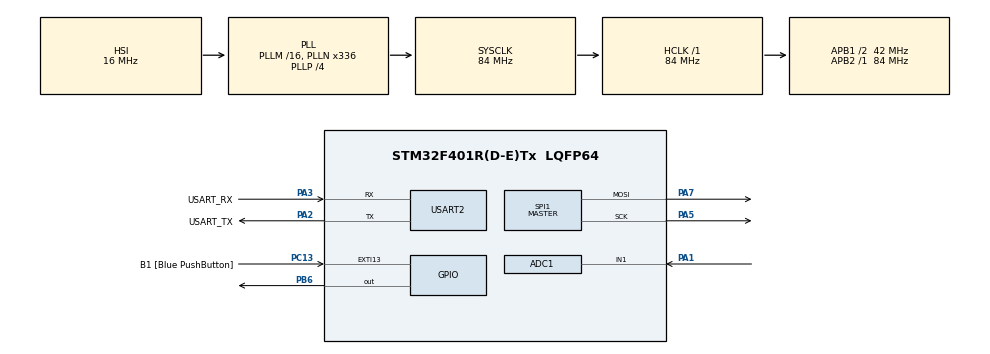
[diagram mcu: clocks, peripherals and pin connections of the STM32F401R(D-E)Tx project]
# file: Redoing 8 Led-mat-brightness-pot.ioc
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ADC1.Channel-0\#ChannelRegularConversion=ADC_CHANNEL_1
ADC1.ExternalTrigConv=ADC_EXTERNALTRIGCONV_T3_TRGO
ADC1.InjNumberOfConversion=0
ADC1.NbrOfConversionFlag=1
ADC1.Rank-0\#ChannelRegularConversion=1
ADC1.SamplingTime-0\#ChannelRegularConversion=ADC_SAMPLETIME_480CYCLES
ADC1.master=1
Dma.Request0=SPI1_TX
Dma.SPI1_TX.0.Direction=DMA_MEMORY_TO_PERIPH
Dma.SPI1_TX.0.FIFOMode=DMA_FIFOMODE_DISABLE
Dma.SPI1_TX.0.Instance=DMA2_Stream3
Dma.SPI1_TX.0.MemDataAlignment=DMA_MDATAALIGN_BYTE
Dma.SPI1_TX.0.MemInc=DMA_MINC_ENABLE
Dma.SPI1_TX.0.Mode=DMA_NORMAL
Dma.SPI1_TX.0.PeriphDataAlignment=DMA_PDATAALIGN_BYTE
Dma.SPI1_TX.0.PeriphInc=DMA_PINC_DISABLE
Dma.SPI1_TX.0.Priority=DMA_PRIORITY_LOW
Mcu.Family=STM32F4
Mcu.Name=STM32F401R(D-E)Tx
Mcu.Package=LQFP64
NVIC.ADC_IRQn=true\:0\:0\:false\:false\:true\:true\:true\:true
NVIC.DMA2_Stream3_IRQn=true\:0\:0\:false\:false\:true\:false\:true\:true
NVIC.PriorityGroup=NVIC_PRIORITYGROUP_0
NVIC.SPI1_IRQn=true\:0\:0\:false\:false\:true\:true\:true\:true
NVIC.TIM2_IRQn=true\:0\:0\:false\:false\:true\:true\:true\:true
NVIC.TIM3_IRQn=true\:0\:0\:false\:false\:true\:true\:true\:true
PA1.Signal=ADCx_IN1
PA13.GPIO_Label=TMS
PA13.Mode=Serial_Wire
PA13.Signal=SYS_JTMS-SWDIO
PA14.GPIO_Label=TCK
PA14.Mode=Serial_Wire
PA14.Signal=SYS_JTCK-SWCLK
PA2.GPIO_Label=USART_TX
PA2.GPIO_Mode=GPIO_MODE_AF_PP
PA2.GPIO_PuPd=GPIO_NOPULL
PA2.GPIO_Speed=GPIO_SPEED_FREQ_LOW
PA2.Mode=Asynchronous
PA2.Signal=USART2_TX
PA3.GPIO_Label=USART_RX
PA3.GPIO_Mode=GPIO_MODE_AF_PP
PA3.GPIO_PuPd=GPIO_NOPULL
PA3.GPIO_Speed=GPIO_SPEED_FREQ_LOW
PA3.Mode=Asynchronous
PA3.Signal=USART2_RX
PA4.Signal=SPI1_NSS
PA5.Mode=TX_Only_Simplex_Unidirect_Master
PA5.Signal=SPI1_SCK
PA6.Signal=SPI1_MISO
PA7.Mode=TX_Only_Simplex_Unidirect_Master
PA7.Signal=SPI1_MOSI
PB3.GPIO_Label=SWO
PB3.Signal=SYS_JTDO-SWO
PB6.Signal=GPIO_Output
PC13-ANTI_TAMP.GPIO_Label=B1 [Blue PushButton]
PC13-ANTI_TAMP.GPIO_ModeDefaultEXTI=GPIO_MODE_IT_FALLING
PC13-ANTI_TAMP.GPIO_PuPd=GPIO_NOPULL
PC13-ANTI_TAMP.Signal=GPXTI13
PC14-OSC32_IN.Mode=LSE-External-Oscillator
PC14-OSC32_IN.Signal=RCC_OSC32_IN
PC15-OSC32_OUT.Mode=LSE-External-Oscillator
PC15-OSC32_OUT.Signal=RCC_OSC32_OUT
PH0\ -\ OSC_IN.Mode=HSE-External-Clock-Source
PH0\ -\ OSC_IN.Signal=RCC_OSC_IN
PH1\ -\ OSC_OUT.Mode=HSE-External-Clock-Source
PH1\ -\ OSC_OUT.Signal=RCC_OSC_OUT
ProjectManager.HeapSize=0x200
ProjectManager.StackSize=0x400
ProjectManager.TargetToolchain=STM32CubeIDE
RCC.48MHZClocksFreq_Value=48000000
RCC.AHBFreq_Value=84000000
RCC.APB1CLKDivider=RCC_HCLK_DIV2
RCC.APB1Freq_Value=42000000
RCC.APB1TimFreq_Value=84000000
RCC.APB2Freq_Value=84000000
RCC.APB2TimFreq_Value=84000000
RCC.CortexFreq_Value=84000000
RCC.HCLKFreq_Value=84000000
RCC.HSE_VALUE=8000000
RCC.HSI_VALUE=16000000
RCC.PLLN=336
RCC.PLLP=RCC_PLLP_DIV4
RCC.PLLQ=7
RCC.SYSCLKFreq_VALUE=84000000
RCC.SYSCLKSource=RCC_SYSCLKSOURCE_PLLCLK
RCC.VCOOutputFreq_Value=336000000
SH.ADCx_IN1.0=ADC1_IN1,IN1
SPI1.BaudRatePrescaler=SPI_BAUDRATEPRESCALER_4
SPI1.Direction=SPI_DIRECTION_2LINES
SPI1.Mode=SPI_MODE_MASTER
SPI1.VirtualType=VM_MASTER
TIM2.Period=1
TIM2.Prescaler=840
TIM3.Period=10000
TIM3.Prescaler=8400
TIM3.TIM_MasterOutputTrigger=TIM_TRGO_UPDATE
USART2.VirtualMode=VM_ASYNC
VP_TIM2_VS_ClockSourceINT.Mode=Internal
VP_TIM3_VS_ClockSourceINT.Mode=Internal
board=NUCLEO-F401RE

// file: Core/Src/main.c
/* USER CODE BEGIN Header */
/**
 ******************************************************************************
 * @file           : main.c
 * @brief          : Main program body
 ******************************************************************************
 * @attention
 *
 * Copyright (c) 2023 STMicroelectronics.
 * All rights reserved.
 *
 * This software is licensed under terms that can be found in the LICENSE file
 * in the root directory of this software component.
 * If no LICENSE file comes with this software, it is provided AS-IS.
 *
 ******************************************************************************
 */
/* USER CODE END Header */
#include "main.h"

ADC_HandleTypeDef hadc1;

SPI_HandleTypeDef hspi1;
DMA_HandleTypeDef hdma_spi1_tx;

TIM_HandleTypeDef htim2;
TIM_HandleTypeDef htim3;

UART_HandleTypeDef huart2;

void SystemClock_Config(void);
static void MX_GPIO_Init(void);
static void MX_DMA_Init(void);
static void MX_USART2_UART_Init(void);
static void MX_SPI1_Init(void);
static void MX_TIM2_Init(void);
static void MX_TIM3_Init(void);
static void MX_ADC1_Init(void);

/* USER CODE BEGIN 0 */
int pot_val = 0;
void HAL_TIM_PeriodElapsedCallback(TIM_HandleTypeDef *htim) {
#define N_CHARS 3
	static uint8_t empty[2] = {0, 0};
	static uint8_t full[2] = {0b11111111,0b11111111};

	if (htim == &htim2) {
		static int idx = 0;
		if(idx == 0 && pot_val != 0){
			HAL_SPI_Transmit_DMA(&hspi1, full, 2);
		}else if(idx == pot_val && pot_val != 100){
			HAL_SPI_Transmit_DMA(&hspi1, empty, 2);
		}
		idx = (idx + 1) % 100;
	}
}

void HAL_SPI_TxCpltCallback (SPI_HandleTypeDef * hspi){
	HAL_GPIO_TogglePin(GPIOB, GPIO_PIN_6);
	HAL_GPIO_TogglePin(GPIOB, GPIO_PIN_6);
}

void HAL_ADC_ConvCpltCallback(ADC_HandleTypeDef *hadc){
	if(hadc == &hadc1){
		pot_val = (float)HAL_ADC_GetValue(&hadc1)/40.92;
	}

}
/* USER CODE END 0 */

int main(void)
{

  /* MCU Configuration--------------------------------------------------------*/

  /* Reset of all peripherals, Initializes the Flash interface and the Systick. */
  HAL_Init();

  /* Configure the system clock */
  SystemClock_Config();

  /* Initialize all configured peripherals */
  MX_GPIO_Init();
  MX_DMA_Init();
  MX_USART2_UART_Init();
  MX_SPI1_Init();
  MX_TIM2_Init();
  MX_TIM3_Init();
  MX_ADC1_Init();
  /* USER CODE BEGIN 2 */
	HAL_TIM_Base_Start_IT(&htim2);
	HAL_TIM_Base_Start_IT(&htim3);
	if(HAL_ADC_Start_IT(&hadc1) != HAL_OK)
		Error_Handler();
  /* USER CODE END 2 */

  /* Infinite loop */
	while (1) {

	}
}

void SystemClock_Config(void)
{
  RCC_OscInitTypeDef RCC_OscInitStruct = {0};
  RCC_ClkInitTypeDef RCC_ClkInitStruct = {0};

  /** Configure the main internal regulator output voltage
  */
  __HAL_RCC_PWR_CLK_ENABLE();
  __HAL_PWR_VOLTAGESCALING_CONFIG(PWR_REGULATOR_VOLTAGE_SCALE2);

  /** Initializes the RCC Oscillators according to the specified parameters
  * in the RCC_OscInitTypeDef structure.
  */
  RCC_OscInitStruct.OscillatorType = RCC_OSCILLATORTYPE_HSI;
  RCC_OscInitStruct.HSIState = RCC_HSI_ON;
  RCC_OscInitStruct.HSICalibrationValue = RCC_HSICALIBRATION_DEFAULT;
  RCC_OscInitStruct.PLL.PLLState = RCC_PLL_ON;
  RCC_OscInitStruct.PLL.PLLSource = RCC_PLLSOURCE_HSI;
  RCC_OscInitStruct.PLL.PLLM = 16;
  RCC_OscInitStruct.PLL.PLLN = 336;
  RCC_OscInitStruct.PLL.PLLP = RCC_PLLP_DIV4;
  RCC_OscInitStruct.PLL.PLLQ = 7;
  if (HAL_RCC_OscConfig(&RCC_OscInitStruct) != HAL_OK)
  {
    Error_Handler();
  }

  /** Initializes the CPU, AHB and APB buses clocks
  */
  RCC_ClkInitStruct.ClockType = RCC_CLOCKTYPE_HCLK|RCC_CLOCKTYPE_SYSCLK
                              |RCC_CLOCKTYPE_PCLK1|RCC_CLOCKTYPE_PCLK2;
  RCC_ClkInitStruct.SYSCLKSource = RCC_SYSCLKSOURCE_PLLCLK;
  RCC_ClkInitStruct.AHBCLKDivider = RCC_SYSCLK_DIV1;
  RCC_ClkInitStruct.APB1CLKDivider = RCC_HCLK_DIV2;
  RCC_ClkInitStruct.APB2CLKDivider = RCC_HCLK_DIV1;

  if (HAL_RCC_ClockConfig(&RCC_ClkInitStruct, FLASH_LATENCY_2) != HAL_OK)
  {
    Error_Handler();
  }
}

static void MX_ADC1_Init(void)
{

  ADC_ChannelConfTypeDef sConfig = {0};

  /** Configure the global features of the ADC (Clock, Resolution, Data Alignment and number of conversion)
  */
  hadc1.Instance = ADC1;
  hadc1.Init.ClockPrescaler = ADC_CLOCK_SYNC_PCLK_DIV4;
  hadc1.Init.Resolution = ADC_RESOLUTION_12B;
  hadc1.Init.ScanConvMode = DISABLE;
  hadc1.Init.ContinuousConvMode = DISABLE;
  hadc1.Init.DiscontinuousConvMode = DISABLE;
  hadc1.Init.ExternalTrigConvEdge = ADC_EXTERNALTRIGCONVEDGE_RISING;
  hadc1.Init.ExternalTrigConv = ADC_EXTERNALTRIGCONV_T3_TRGO;
  hadc1.Init.DataAlign = ADC_DATAALIGN_RIGHT;
  hadc1.Init.NbrOfConversion = 1;
  hadc1.Init.DMAContinuousRequests = DISABLE;
  hadc1.Init.EOCSelection = ADC_EOC_SINGLE_CONV;
  if (HAL_ADC_Init(&hadc1) != HAL_OK)
  {
    Error_Handler();
  }

  /** Configure for the selected ADC regular channel its corresponding rank in the sequencer and its sample time.
  */
  sConfig.Channel = ADC_CHANNEL_1;
  sConfig.Rank = 1;
  sConfig.SamplingTime = ADC_SAMPLETIME_480CYCLES;
  if (HAL_ADC_ConfigChannel(&hadc1, &sConfig) != HAL_OK)
  {
    Error_Handler();
  }

}

static void MX_SPI1_Init(void)
{

  /* SPI1 parameter configuration*/
  hspi1.Instance = SPI1;
  hspi1.Init.Mode = SPI_MODE_MASTER;
  hspi1.Init.Direction = SPI_DIRECTION_2LINES;
  hspi1.Init.DataSize = SPI_DATASIZE_8BIT;
  hspi1.Init.CLKPolarity = SPI_POLARITY_LOW;
  hspi1.Init.CLKPhase = SPI_PHASE_1EDGE;
  hspi1.Init.NSS = SPI_NSS_SOFT;
  hspi1.Init.BaudRatePrescaler = SPI_BAUDRATEPRESCALER_4;
  hspi1.Init.FirstBit = SPI_FIRSTBIT_MSB;
  hspi1.Init.TIMode = SPI_TIMODE_DISABLE;
  hspi1.Init.CRCCalculation = SPI_CRCCALCULATION_DISABLE;
  hspi1.Init.CRCPolynomial = 10;
  if (HAL_SPI_Init(&hspi1) != HAL_OK)
  {
    Error_Handler();
  }

}

static void MX_TIM2_Init(void)
{

  TIM_ClockConfigTypeDef sClockSourceConfig = {0};
  TIM_MasterConfigTypeDef sMasterConfig = {0};

  htim2.Instance = TIM2;
  htim2.Init.Prescaler = 840;
  htim2.Init.CounterMode = TIM_COUNTERMODE_UP;
  htim2.Init.Period = 1;
  htim2.Init.ClockDivision = TIM_CLOCKDIVISION_DIV1;
  htim2.Init.AutoReloadPreload = TIM_AUTORELOAD_PRELOAD_DISABLE;
  if (HAL_TIM_Base_Init(&htim2) != HAL_OK)
  {
    Error_Handler();
  }
  sClockSourceConfig.ClockSource = TIM_CLOCKSOURCE_INTERNAL;
  if (HAL_TIM_ConfigClockSource(&htim2, &sClockSourceConfig) != HAL_OK)
  {
    Error_Handler();
  }
  sMasterConfig.MasterOutputTrigger = TIM_TRGO_RESET;
  sMasterConfig.MasterSlaveMode = TIM_MASTERSLAVEMODE_DISABLE;
  if (HAL_TIMEx_MasterConfigSynchronization(&htim2, &sMasterConfig) != HAL_OK)
  {
    Error_Handler();
  }

}

static void MX_TIM3_Init(void)
{

  TIM_ClockConfigTypeDef sClockSourceConfig = {0};
  TIM_MasterConfigTypeDef sMasterConfig = {0};

  htim3.Instance = TIM3;
  htim3.Init.Prescaler = 8400;
  htim3.Init.CounterMode = TIM_COUNTERMODE_UP;
  htim3.Init.Period = 10000;
  htim3.Init.ClockDivision = TIM_CLOCKDIVISION_DIV1;
  htim3.Init.AutoReloadPreload = TIM_AUTORELOAD_PRELOAD_DISABLE;
  if (HAL_TIM_Base_Init(&htim3) != HAL_OK)
  {
    Error_Handler();
  }
  sClockSourceConfig.ClockSource = TIM_CLOCKSOURCE_INTERNAL;
  if (HAL_TIM_ConfigClockSource(&htim3, &sClockSourceConfig) != HAL_OK)
  {
    Error_Handler();
  }
  sMasterConfig.MasterOutputTrigger = TIM_TRGO_UPDATE;
  sMasterConfig.MasterSlaveMode = TIM_MASTERSLAVEMODE_DISABLE;
  if (HAL_TIMEx_MasterConfigSynchronization(&htim3, &sMasterConfig) != HAL_OK)
  {
    Error_Handler();
  }

}

static void MX_USART2_UART_Init(void)
{

  huart2.Instance = USART2;
  huart2.Init.BaudRate = 115200;
  huart2.Init.WordLength = UART_WORDLENGTH_8B;
  huart2.Init.StopBits = UART_STOPBITS_1;
  huart2.Init.Parity = UART_PARITY_NONE;
  huart2.Init.Mode = UART_MODE_TX_RX;
  huart2.Init.HwFlowCtl = UART_HWCONTROL_NONE;
  huart2.Init.OverSampling = UART_OVERSAMPLING_16;
  if (HAL_UART_Init(&huart2) != HAL_OK)
  {
    Error_Handler();
  }

}

static void MX_DMA_Init(void)
{

  /* DMA controller clock enable */
  __HAL_RCC_DMA2_CLK_ENABLE();

  /* DMA interrupt init */
  /* DMA2_Stream3_IRQn interrupt configuration */
  HAL_NVIC_SetPriority(DMA2_Stream3_IRQn, 0, 0);
  HAL_NVIC_EnableIRQ(DMA2_Stream3_IRQn);

}

static void MX_GPIO_Init(void)
{
  GPIO_InitTypeDef GPIO_InitStruct = {0};

  /* GPIO Ports Clock Enable */
  __HAL_RCC_GPIOC_CLK_ENABLE();
  __HAL_RCC_GPIOH_CLK_ENABLE();
  __HAL_RCC_GPIOA_CLK_ENABLE();
  __HAL_RCC_GPIOB_CLK_ENABLE();

  /*Configure GPIO pin Output Level */
  HAL_GPIO_WritePin(GPIOB, GPIO_PIN_6, GPIO_PIN_RESET);

  /*Configure GPIO pin : B1_Pin */
  GPIO_InitStruct.Pin = B1_Pin;
  GPIO_InitStruct.Mode = GPIO_MODE_IT_FALLING;
  GPIO_InitStruct.Pull = GPIO_NOPULL;
  HAL_GPIO_Init(B1_GPIO_Port, &GPIO_InitStruct);

  /*Configure GPIO pin : PB6 */
  GPIO_InitStruct.Pin = GPIO_PIN_6;
  GPIO_InitStruct.Mode = GPIO_MODE_OUTPUT_PP;
  GPIO_InitStruct.Pull = GPIO_NOPULL;
  GPIO_InitStruct.Speed = GPIO_SPEED_FREQ_LOW;
  HAL_GPIO_Init(GPIOB, &GPIO_InitStruct);

}

void Error_Handler(void)
{
	__disable_irq();
	while (1) {
	}
}
